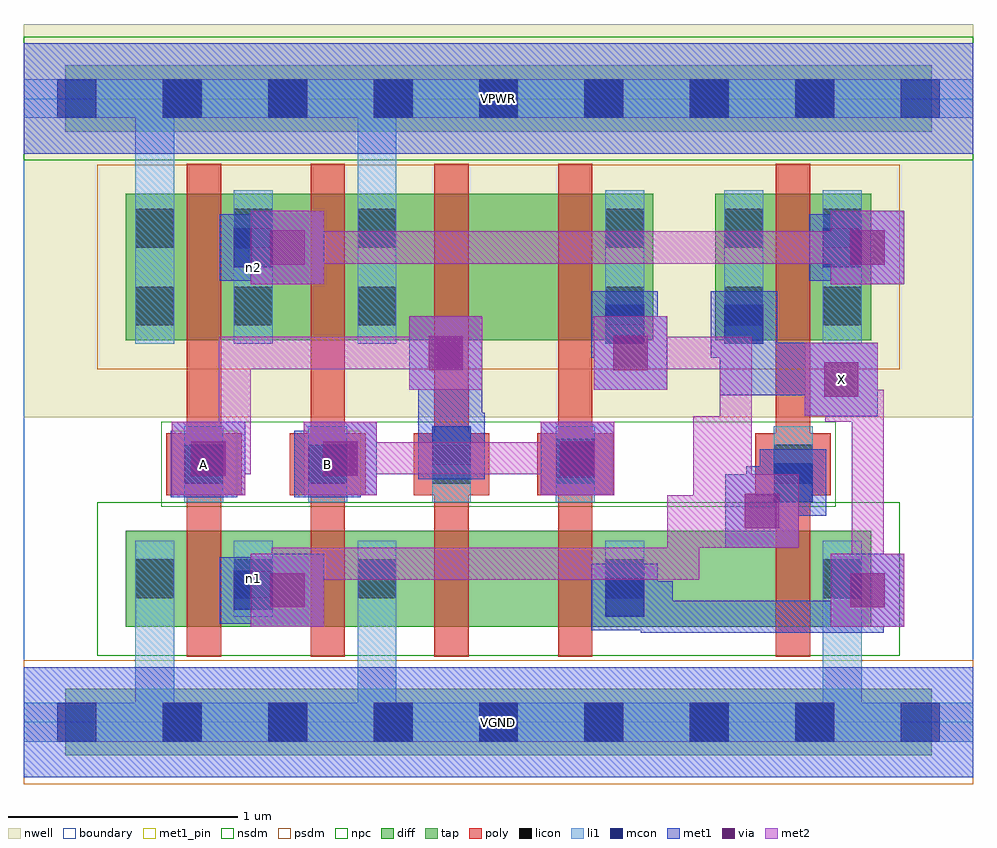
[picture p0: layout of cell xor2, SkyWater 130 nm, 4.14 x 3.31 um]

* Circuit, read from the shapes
.subckt xor2 A B VGND VPWR X n1 n2
XM1 n1 A VGND VGND sky130_fd_pr__nfet_01v8 w=0.42 l=0.15
XM2 VGND B n1 VGND sky130_fd_pr__nfet_01v8 w=0.42 l=0.15
XM3 n3 A VGND VGND sky130_fd_pr__nfet_01v8 w=0.42 l=0.15
XM4 X B n3 VGND sky130_fd_pr__nfet_01v8 w=0.42 l=0.15
XM5 VGND n1 X VGND sky130_fd_pr__nfet_01v8 w=0.42 l=0.15
XM6 n2 A VPWR VPWR sky130_fd_pr__pfet_01v8 w=0.64 l=0.15
XM7 VPWR B n2 VPWR sky130_fd_pr__pfet_01v8 w=0.64 l=0.15
XM8 n4 A VPWR VPWR sky130_fd_pr__pfet_01v8 w=0.64 l=0.15
XM9 n1 B n4 VPWR sky130_fd_pr__pfet_01v8 w=0.64 l=0.15
XM10 n2 n1 X VPWR sky130_fd_pr__pfet_01v8 w=0.64 l=0.15
.ends

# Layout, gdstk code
import gdstk
lib = gdstk.Library(unit=1e-6, precision=1e-09)
def R(c, l, rs):  # rectangles x0, y0, x1, y1
    for r in rs: c.add(gdstk.rectangle(r[:2], r[2:], *l))
def A(c, l, x, y, w, h, nx, ny, dx, dy):  # array of equal rectangles
    R(c, l, [(x+i*dx, y+j*dy, x+i*dx+w, y+j*dy+h) for i in range(nx) for j in range(ny)])
nwell = (64, 20)
diff = (65, 20)
tap = (65, 44)
poly = (66, 20)
licon = (66, 44)
li1 = (67, 20)
mcon = (67, 44)
met1_pin = (68, 16)
met1 = (68, 20)
via = (68, 44)
met2 = (69, 20)
nsdm = (93, 44)
psdm = (94, 20)
npc = (95, 20)
boundary = (235, 4)

xor2 = lib.new_cell('xor2')
R(xor2, nwell, [(0,1.33,4.14,3.045)])
R(xor2, diff, [(0.445,0.415,3.695,0.835), (0.445,1.665,2.745,2.305), (3.015,1.665,3.695,2.305)])
R(xor2, tap, [(0.18,-0.145,3.96,0.145), (0.18,2.575,3.96,2.865)])
A(xor2, poly, 0.71, 0.285, 0.15, 2.15, 4, 1, 0.54, 0)
A(xor2, poly, 0.62, 0.99, 0.33, 0.27, 4, 1, 0.54, 0)
R(xor2, poly, [(3.28,0.285,3.43,2.435), (3.19,0.99,3.52,1.26)])
A(xor2, licon, 0.605, -0.085, 0.17, 0.17, 7, 2, 0.46, 2.72)
A(xor2, licon, 0.7, 1.04, 0.17, 0.17, 4, 1, 0.54, 0)
R(xor2, licon, [(0.485,0.54,0.655,0.71), (0.915,0.54,1.085,0.71), (1.455,0.54,1.625,0.71), (2.535,0.54,2.705,0.71), (3.485,0.54,3.655,0.71), (3.27,1.04,3.44,1.21), (0.485,1.73,0.655,1.9), (0.915,1.73,1.085,1.9), (1.455,1.73,1.625,1.9), (2.535,1.73,2.705,1.9), (3.055,1.73,3.225,1.9), (3.485,1.73,3.655,1.9), (0.485,2.07,0.655,2.24), (0.915,2.07,1.085,2.24), (1.455,2.07,1.625,2.24), (2.535,2.07,2.705,2.24), (3.055,2.07,3.225,2.24), (3.485,2.07,3.655,2.24)])
A(xor2, li1, 0.7, 0.96, 0.17, 0.33, 4, 1, 0.54, 0)
R(xor2, li1, [(0,-0.085,4.14,0.085), (0.485,-0.085,0.655,0.79), (1.455,-0.085,1.625,0.79), (3.485,-0.085,3.655,0.79), (0.485,0.46,0.655,0.79), (0.915,0.46,1.085,0.79), (1.455,0.46,1.625,0.79), (2.535,0.46,2.705,0.79), (3.485,0.46,3.655,0.79), (3.27,0.96,3.44,1.29), (0.485,1.65,0.655,2.32), (0.485,1.65,0.655,2.805), (0.915,1.65,1.085,2.32), (1.455,1.65,1.625,2.32), (1.455,1.65,1.625,2.805), (2.535,1.65,2.705,2.32), (3.055,1.65,3.225,2.32), (3.485,1.65,3.655,2.32), (0,2.635,4.14,2.805)])
A(xor2, mcon, 0.145, -0.085, 0.17, 0.17, 9, 2, 0.46, 2.72)
R(xor2, mcon, [(2.535,0.46,2.705,0.63), (0.915,0.49,1.085,0.66), (3.27,0.96,3.44,1.13), (0.7,1.04,0.87,1.21), (1.24,1.04,1.41,1.21), (2.32,1.065,2.49,1.235), (1.78,1.12,1.95,1.29), (2.535,1.65,2.705,1.82), (3.055,1.65,3.225,1.82), (0.915,1.985,1.085,2.155), (3.485,1.985,3.655,2.155)])
R(xor2, met1_pin, [(0,-0.24,4.14,0.24), (0.64,0.98,0.93,1.27), (1.18,0.98,1.47,1.27), (3.405,1.335,3.725,1.655), (0,2.48,4.14,2.96)])
R(xor2, met1, [(0,-0.24,4.14,0.24), (2.69,0.39,2.83,0.615), (2.69,0.39,3.75,0.53), (3.61,0.39,3.75,0.645), (2.475,0.4,2.765,0.69), (0.99,0.415,1.31,0.735), (3.52,0.415,3.84,0.735), (0.855,0.43,1.145,0.72), (2.55,0.475,2.83,0.615), (0.93,0.505,1.22,0.645), (3.06,0.76,3.38,1.08), (3.15,0.85,3.29,1.115), (3.21,0.9,3.5,1.19), (3.15,0.975,3.425,1.115), (0.64,0.98,0.93,1.27), (1.18,0.98,1.47,1.27), (0.645,0.99,0.965,1.31), (1.22,0.99,1.54,1.31), (2.255,0.99,2.575,1.31), (2.26,1.005,2.55,1.295), (1.72,1.06,2.01,1.35), (0.735,1.08,0.875,1.22), (1.31,1.08,1.45,1.22), (2.335,1.08,2.485,1.22), (1.77,1.135,1.935,1.275), (1.77,1.135,1.91,1.45), (1.77,1.31,1.91,1.68), (3.405,1.335,3.725,1.655), (1.72,1.35,2,1.45), (3.035,1.425,3.175,1.68), (3.035,1.425,3.635,1.565), (1.68,1.45,2,1.77), (2.485,1.45,2.805,1.77), (2.575,1.54,2.715,1.805), (3.035,1.54,3.175,1.805), (3.035,1.565,3.285,1.59), (3.035,1.565,3.21,1.665), (3.285,1.565,3.405,1.59), (2.475,1.59,2.765,1.88), (2.995,1.59,3.285,1.88), (3.285,1.59,3.405,1.655), (2.55,1.665,2.715,1.805), (3.035,1.665,3.21,1.805), (0.99,1.91,1.31,2.23), (3.52,1.91,3.84,2.23), (0.855,1.925,1.145,2.215), (3.425,1.925,3.715,2.215), (0.93,2,1.22,2.14), (3.5,2,3.75,2.14), (0,2.48,4.14,2.96)])
R(xor2, via, [(1.075,0.5,1.225,0.65), (3.605,0.5,3.755,0.65), (3.145,0.845,3.295,0.995), (0.73,1.075,0.88,1.225), (1.305,1.075,1.455,1.225), (2.34,1.075,2.49,1.225), (3.49,1.42,3.64,1.57), (1.765,1.535,1.915,1.685), (2.57,1.535,2.72,1.685), (1.075,1.995,1.225,2.145), (3.605,1.995,3.755,2.145)])
R(xor2, met2, [(0.99,0.415,1.31,0.735), (3.52,0.415,3.84,0.735), (1.08,0.505,1.22,0.76), (3.61,0.505,3.75,1.45), (1.08,0.62,2.945,0.76), (2.805,0.62,2.945,0.99), (2.945,0.76,3.06,0.99), (3.06,0.76,3.38,1.08), (2.805,0.85,3.29,0.99), (2.92,0.85,3.06,1.335), (0.645,0.99,0.965,1.31), (1.22,0.99,1.54,1.31), (2.255,0.99,2.575,1.31), (0.735,1.08,0.99,1.22), (0.85,1.08,0.99,1.68), (1.31,1.08,2.485,1.22), (3.06,1.08,3.175,1.195), (2.92,1.195,3.175,1.335), (3.035,1.195,3.175,1.68), (3.495,1.31,3.635,1.565), (3.495,1.31,3.75,1.45), (3.405,1.335,3.725,1.655), (1.68,1.45,2,1.77), (2.485,1.45,2.805,1.77), (0.85,1.54,1.91,1.68), (2.575,1.54,3.175,1.68), (0.99,1.91,1.31,2.23), (3.52,1.91,3.84,2.23), (1.08,2,3.75,2.14)])
R(xor2, nsdm, [(0.32,0.29,3.82,0.96), (0,2.45,4.14,2.99)])
R(xor2, psdm, [(0,-0.27,4.14,0.27), (0.32,1.54,3.82,2.43)])
R(xor2, npc, [(0.6,0.94,3.54,1.31)])
R(xor2, boundary, [(0,0,4.14,2.72)])
xor2.add(gdstk.Label('n1', (1,0.625), layer=67, texttype=5))
xor2.add(gdstk.Label('n2', (1,1.985), layer=67, texttype=5))
xor2.add(gdstk.Label('A', (0.785,1.125), layer=68, texttype=5))
xor2.add(gdstk.Label('B', (1.325,1.125), layer=68, texttype=5))
xor2.add(gdstk.Label('X', (3.565,1.495), layer=68, texttype=5))
xor2.add(gdstk.Label('VPWR', (2.07,2.72), layer=68, texttype=5))
xor2.add(gdstk.Label('VGND', (2.07,0), layer=68, texttype=5))
xor2.add(gdstk.Label('A', (0.785,1.125), layer=68, texttype=16))
xor2.add(gdstk.Label('B', (1.325,1.125), layer=68, texttype=16))
xor2.add(gdstk.Label('X', (3.565,1.495), layer=68, texttype=16))
xor2.add(gdstk.Label('VPWR', (2.07,2.72), layer=68, texttype=16))
xor2.add(gdstk.Label('VGND', (2.07,0), layer=68, texttype=16))

lib.write_gds('xor2.gds')
